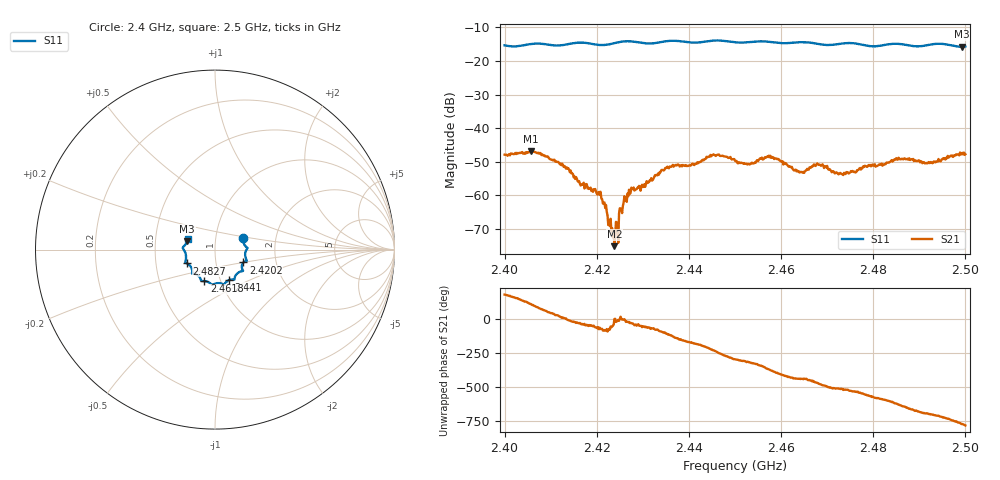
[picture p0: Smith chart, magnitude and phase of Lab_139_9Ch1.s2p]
# Hz S RI R 50
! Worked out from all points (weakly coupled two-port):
!   601 points, 2.4 GHz to 2.5 GHz, reference 50 ohm
!   highest |S21| = -46.84 dB at 2.4057 GHz (marker M1); lowest = -75.1 dB at 2.4238 GHz (marker M2)
!   lowest |S11| = -15.8 dB at 2.4992 GHz (marker M3), VSWR 1.39, Z = 36.4 + j3.65 ohm
!   |S11| at or under -10 dB: start of sweep to end of sweep
!   S12 and S22 are empty: the file has one direction only
!   S11 on the Smith chart (normalised r, x): 2.4 GHz: 1.36, +0.18; 2.4202 GHz: 1.36, -0.20; 2.441 GHz: 1.10, -0.39; 2.4618 GHz: 0.84, -0.30; 2.4827 GHz: 0.72, -0.11; 2.5 GHz: 0.73, +0.09
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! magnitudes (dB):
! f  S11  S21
! 2.4 GHz  -15.4  -47.9
! 2.4057 GHz  -15.0  -46.8
! 2.4122 GHz  -15.4  -50.6
! 2.4167 GHz  -14.5  -56.7
! 2.4202 GHz  -15.2  -59.7
! 2.4238 GHz  -14.7  -75.1
! 2.4242 GHz  -14.6  -67.9
! 2.4255 GHz  -14.3  -65.3
! 2.4272 GHz  -14.2  -59.6
! 2.4333 GHz  -14.5  -53.5
! 2.441 GHz  -14.6  -50.9
! 2.4452 GHz  -14.0  -48.0
! 2.45 GHz  -14.4  -49.7
! 2.4575 GHz  -14.3  -48.6
! 2.4618 GHz  -14.7  -51.3
! 2.4645 GHz  -14.4  -53.1
! 2.4667 GHz  -14.6  -51.4
! 2.4735 GHz  -14.8  -53.9
! 2.4827 GHz  -15.2  -50.7
! 2.4833 GHz  -15.0  -50.2
! 2.4992 GHz  -15.8  -47.8
! 2.5 GHz  -15.7  -47.7
